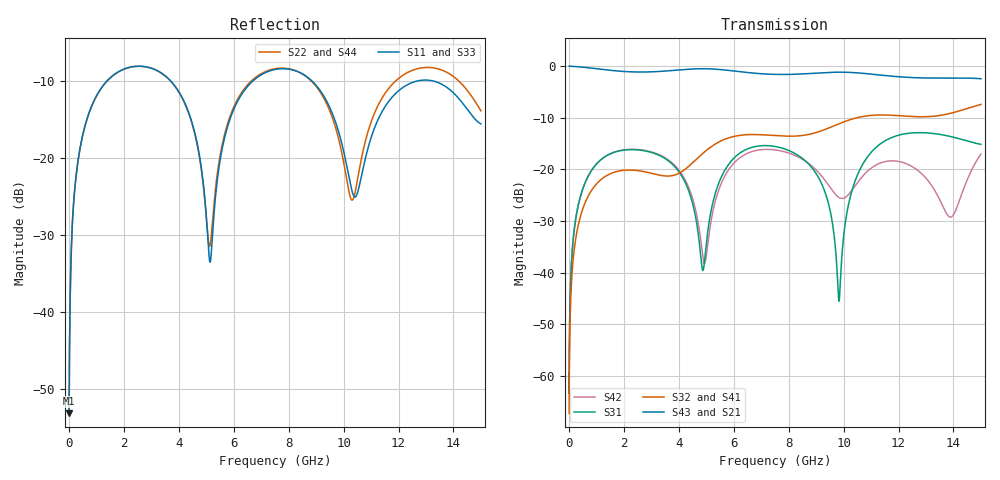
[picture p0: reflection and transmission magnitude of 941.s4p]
! Created with skrf 1.8.0 (http://scikit-rf.org).
# GHz S RI R 50.0
!freq ReS11 ImS11 ReS12 ImS12 ReS13 ImS13
! ReS14 ImS14
! ReS21 ImS21 ReS22 ImS22 ReS23 ImS23
! ReS24 ImS24
! ReS31 ImS31 ReS32 ImS32 ReS33 ImS33
! ReS34 ImS34
! ReS41 ImS41 ReS42 ImS42 ReS43 ImS43
! ReS44 ImS44
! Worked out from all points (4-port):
!   2499 points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, 5 MHz to 15 GHz, reference 50 ohm
!   strongest paths, dB at 5 MHz, 3.476 GHz, 7.19 GHz, 11.1 GHz, 15 GHz:
!     S43: 0.0, -1.0, -1.5, -1.6, -2.4
!     S21: 0.0, -1.0, -1.5, -1.6, -2.4
!     S32: -67.2, -21.3, -13.3, -9.5, -7.4
!     S41: -67.2, -21.3, -13.4, -9.5, -7.4
!     S31: -63.3, -17.8, -15.4, -16.2, -15.2
!     S42: -63.3, -17.7, -16.1, -19.4, -17.0
!   lowest |S11| = -53.2 dB at 5 MHz (marker M1), VSWR 1.00, Z = 50.2 + j0.133 ohm
!   |S11| at or under -10 dB: 3.7 GHz to 6.703 GHz (3.003 GHz wide, 57.7 % of centre); 8.842 GHz to 12.71 GHz (3.866 GHz wide, 35.9 % of centre); 13.24 GHz to end of sweep (the widest 3 of 4)
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0.005  0.00175 0.00133  0.9982 -0.0034  8.75e-05 0.000679  -8.51e-05 -0.000428
       0.9982 -0.0034  0.00175 0.00133  -8.51e-05 -0.000428  8.76e-05 0.000679
       8.75e-05 0.000679  -8.51e-05 -0.000428  0.00175 0.00133  0.9982 -0.0034
       -8.51e-05 -0.000428  8.76e-05 0.000679  0.9982 -0.0034  0.00175 0.00133
0.3126303  0.0267 0.0869  0.9635 -0.2109  0.0121 0.04  -0.0101 -0.0249
           0.9635 -0.2109  0.0267 0.0869  -0.0101 -0.0249  0.0122 0.04
           0.0121 0.04  -0.0101 -0.0249  0.0267 0.0869  0.9635 -0.2109
           -0.0101 -0.0249  0.0122 0.04  0.9635 -0.2109  0.0267 0.0869
1.469362  0.274 0.1779  0.5429 -0.7333  0.1263 0.0606  -0.0897 -0.0052
          0.5429 -0.7333  0.2735 0.1781  -0.0897 -0.00511  0.1278 0.0584
          0.1263 0.0606  -0.0897 -0.00511  0.2739 0.1779  0.5429 -0.7333
          -0.0897 -0.0052  0.1278 0.0584  0.5429 -0.7333  0.2736 0.1781
5.139642  0.021 0.000101  -0.9374 -0.061  0.0193 0.0297  -0.00651 0.1628
          -0.9374 -0.061  0.0267 0.00469  -0.00485 0.1629  -0.00566 0.0273
          0.0193 0.0297  -0.00485 0.1629  0.0215 0.000342  -0.9375 -0.0611
          -0.00651 0.1628  -0.00566 0.0273  -0.9375 -0.0611  0.0261 0.00494
7.865777  0.3786 -0.00918  -0.039 0.8282  0.1305 -0.0882  0.2035 -0.0479
          -0.039 0.8282  0.3811 -0.0197  0.2037 -0.0512  0.1254 -0.0782
          0.1305 -0.0882  0.2037 -0.0512  0.377 -0.00756  -0.0394 0.8287
          0.2035 -0.0479  0.1254 -0.0782  -0.0394 0.8287  0.3804 -0.0208
9.835348  0.093 -0.1104  0.7844 0.3827  -0.0051 0.0014  0.1183 -0.2501
          0.7844 0.3827  0.0833 -0.099  0.1129 -0.2526  -0.0519 -0.0128
          -0.0051 0.0014  0.1129 -0.2526  0.0958 -0.1052  0.785 0.3825
          0.1183 -0.2501  -0.0519 -0.0128  0.785 0.3825  0.0771 -0.0977
15  0.1661 -0.00782  -0.6576 -0.3734  -0.1739 0.0155  -0.2324 0.356
    -0.6576 -0.3734  0.1619 -0.1205  -0.2228 0.363  -0.0457 0.1333
    -0.1739 0.0155  -0.2228 0.363  0.1712 -0.0186  -0.6535 -0.3776
    -0.2324 0.356  -0.0457 0.1333  -0.6535 -0.3776  0.1705 -0.1243
